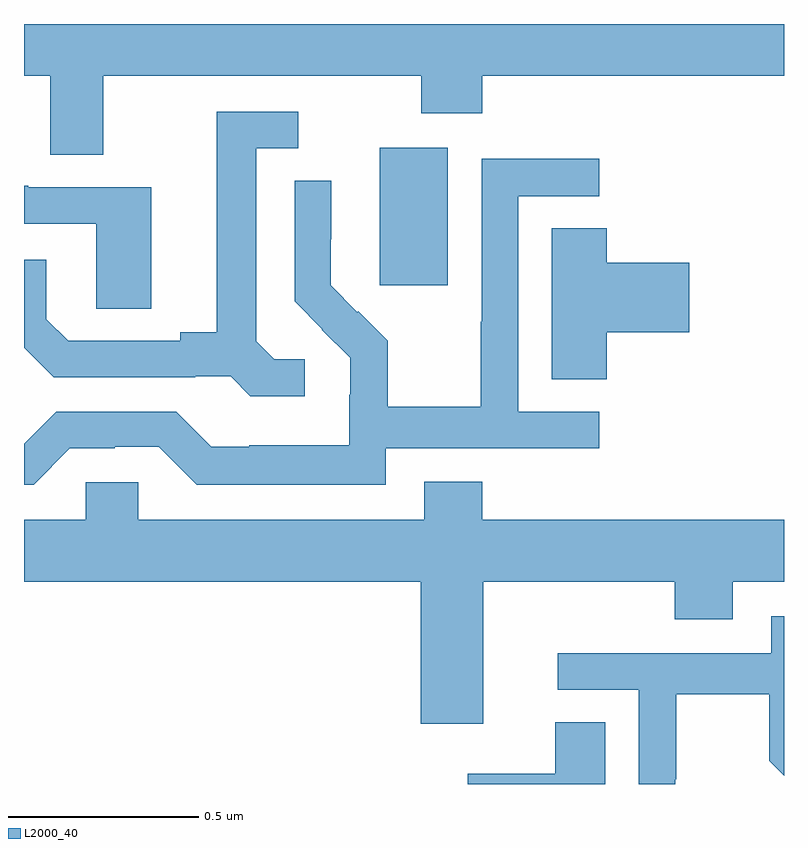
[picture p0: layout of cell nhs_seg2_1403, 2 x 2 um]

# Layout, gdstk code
import gdstk
lib = gdstk.Library(unit=1e-6, precision=1e-09)
def R(c, l, rs):  # rectangles x0, y0, x1, y1
    for r in rs: c.add(gdstk.rectangle(r[:2], r[2:], *l))
def P(c, l, *ps):  # polygons
    for p in ps: c.add(gdstk.Polygon(p, *l))
L2000_40 = (2000, 40)

nhs_seg2_1403 = lib.new_cell('nhs_seg2_1403')
R(nhs_seg2_1403, L2000_40, [(128.936,619.113,129.115,619.474)])
P(nhs_seg2_1403, L2000_40, [(129.046,619.565),(129.206,619.565),(129.206,619.664),(130,619.664),(130,619.8),(128,619.8),(128,619.664),(128.069,619.664),(128.069,619.456),(128.209,619.456),(128.209,619.664),(129.046,619.664)],
  [(128.739,618.918),(128.658,618.918),(128.611,618.965),(128.611,619.473),(128.722,619.473),(128.722,619.569),(128.507,619.569),(128.507,618.989),(128.411,618.989),(128.411,618.966),(128.116,618.966),(128.059,619.023),(128.059,619.18),(128,619.18),(128,618.948),(128.078,618.87),(128.45,618.87),(128.45,618.873),(128.544,618.873),(128.596,618.821),(128.739,618.821)],
  [(128.952,618.684),(129.514,618.684),(129.514,618.78),(129.3,618.78),(129.3,619.347),(129.514,619.347),(129.514,619.446),(129.204,619.446),(129.204,619.016),(129.202,619.016),(129.202,618.793),(128.957,618.793),(128.957,618.967),(128.88,619.044),(128.877,619.041),(128.807,619.112),(128.807,619.234),(128.808,619.234),(128.808,619.388),(128.712,619.388),(128.712,619.07),(128.785,618.997),(128.784,618.996),(128.858,618.922),(128.858,618.825),(128.856,618.825),(128.856,618.691),(128.593,618.691),(128.593,618.687),(128.493,618.687),(128.4,618.78),(128.085,618.78),(128,618.695),(128,618.588),(128.025,618.588),(128.121,618.684),(128.239,618.684),(128.239,618.687),(128.355,618.687),(128.455,618.587),(128.952,618.587)],
  [(128.335,619.371),(128.011,619.371),(128.011,619.375),(128,619.375),(128,619.275),(128.19,619.275),(128.19,619.051),(128.335,619.051)],
  [(129.533,618.989),(129.751,618.989),(129.751,619.172),(129.533,619.172),(129.533,619.262),(129.389,619.262),(129.389,618.865),(129.533,618.865)],
  [(129.208,618.332),(129.713,618.332),(129.713,618.233),(129.865,618.233),(129.865,618.332),(130,618.332),(130,618.496),(129.206,618.496),(129.206,618.595),(129.053,618.595),(129.053,618.496),(128.301,618.496),(128.301,618.594),(128.163,618.594),(128.163,618.496),(128,618.496),(128,618.332),(129.044,618.332),(129.044,617.958),(129.208,617.958)],
  [(129.714,617.812),(129.717,617.812),(129.717,618.036),(129.961,618.036),(129.961,617.861),(130,617.822),(130,618.241),(129.966,618.241),(129.966,618.144),(129.405,618.144),(129.405,618.048),(129.618,618.048),(129.618,617.8),(129.714,617.8)],
  [(129.529,617.963),(129.398,617.963),(129.398,617.827),(129.168,617.827),(129.168,617.8),(129.529,617.8)])

lib.write_gds('nhs_seg2_1403.gds')
